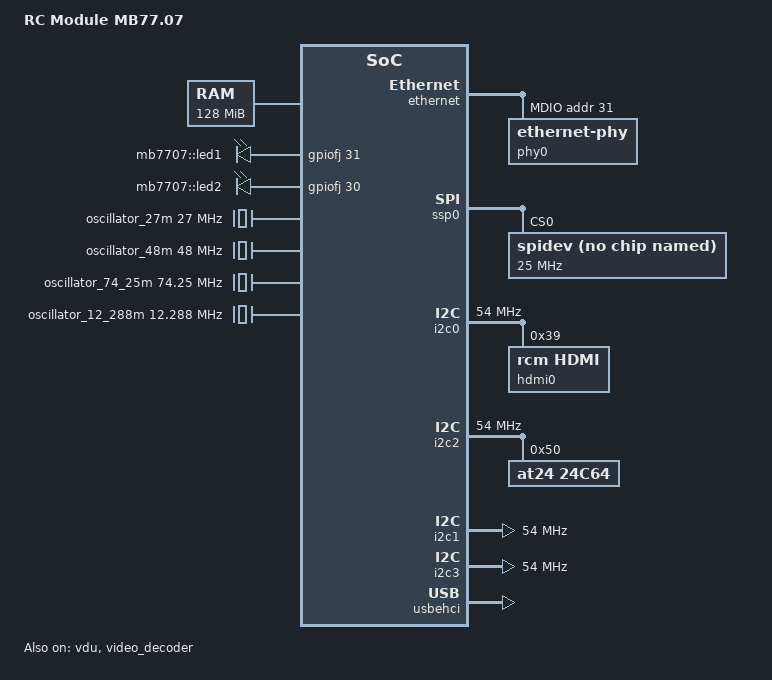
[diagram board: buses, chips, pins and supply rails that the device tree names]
/*
 * Copyright Promwad inc(C) 2011
 * Copyright RC Module      2015
 *
 * Michail Kurachkin <stelhs@ya.ru>
 * Andrew Andrianov  <andrew@ncrmnt.org>
 *
 * This program is free software; you can redistribute it and/or modify
 * it under the terms of the GNU General Public License as published by
 * the Free Software Foundation; either version 2 of the License, or
 * (at your option) any later version.
 *
 * This program is distributed in the hope that it will be useful,
 * but WITHOUT ANY WARRANTY; without even the implied warranty of
 * MERCHANTABILITY or FITNESS FOR A PARTICULAR PURPOSE.  See the
 * GNU General Public License for more details.
 *
 */

/dts-v1/;
#include "rcm-k1879xb1.dtsi"

/ {
	model = "RC Module MB77.07";
	compatible = "rcm,mb7707";

    memory {
        device_type = "memory";
        reg = <0x40000000 0x8000000>;
    };

	reserved-memory {
	    #address-cells = <1>;
	    #size-cells = <1>;
	    ranges;

	    fb_reserved: framebuffer@45C00000 {
		reg = <0x45C00000 0x2400000>;
	    };
	};

	chosen {
		bootargs = "console=ttyS0,38400n8 earlyprintk=serial";
	};

	leds {
		compatible = "gpio-leds";
		one {
			label = "mb7707::led1";
			gpios = <&gpiofj 31 0>; /* LED1 */
			linux,default-trigger = "heartbeat";
		};
		two {
			label = "mb7707::led2";
			gpios = <&gpiofj 30 0>; /* LED2 */
			default-state = "off";
		};
	};

	clocks {
		oscillator_27m: oscillator@27M {
			/* On-board crystal, 27MHz clock */
			compatible = "fixed-clock";
			#clock-cells = <0>;
			clock-frequency = <27000000>;
			clock-accuracy = <0>;
			clock-output-names = "clk_27m";
		};

		oscillator_48m: oscillator@48M {
			/* On-board crystal, 48MHz clock */
			compatible = "fixed-clock";
			#clock-cells = <0>;
			clock-frequency = <48000000>;
			clock-output-names = "clk_48m";
		};

		oscillator_74_25m: oscillator@74M {
			/* On-board crystal, 74.25MHz clock */
			compatible = "fixed-clock";
			#clock-cells = <0>;
			clock-frequency = <74250000>;
			clock-output-names = "clk_74m";
		};

		oscillator_12_288m: oscillator@12M {
			/* On-board crystal, 12.288MHz clock */
			compatible = "fixed-clock";
			#clock-cells = <0>;
			clock-frequency = <12288000>;
			clock-output-names = "clk_12m";
		};
	};
};

&ethernet {
	local-mac-address = [ EC 17 66 77 07 00 ];
	status = "okay";
	mdio {
	phy0: ethernet-phy@0 {
			reg = <0x1f>;
		};
	};
};

&ssp0 {
	status = "okay";
	spidev@0 {
		compatible = "rohm,dh2228fv";
		reg = <0>;
		spi-max-frequency = <25000000>;
		spi-cpha;
		pl022,hierarchy = <0>;
		pl022,interface = <0>;
		pl022,slave-tx-disable;
		pl022,com-mode = <0x1>; /* polling mode */
		pl022,rx-level-trig = <0>;
		pl022,tx-level-trig = <0>;
		pl022,ctrl-len = <0x11>;
		pl022,wait-state = <0>;
		pl022,duplex = <0>;
	};
};

&i2c0 {
	speed = <100000>;
	clock-frequency = <54000000>;
	status = "okay";
	hdmi0: hdmi@39 {
		compatible = "rcm,hdmi";
		reg = <0x39>;
		force-dvi = <1>;
	};
};

&i2c2 {
	status = "okay";
	speed = <100000>;
	clock-frequency = <54000000>;
	at24: at24@50 {
                compatible = "at24,24c64";
                reg = <0x50>;
        };
};

&i2c1 {
       status = "okay";
       speed = <100000>;
       clock-frequency = <54000000>;
};

&i2c3 {
        status = "okay";
        speed = <100000>;
        clock-frequency = <54000000>;
};

&vdu {
	memory-region = <&fb_reserved>;
	status = "okay";
};

&sound {
	status = "okay";
	maudio,model = "RC Module MB77.07";
};

&usbehci {
	status = "okay";
};

&video_decoder {
	status = "okay";
};
